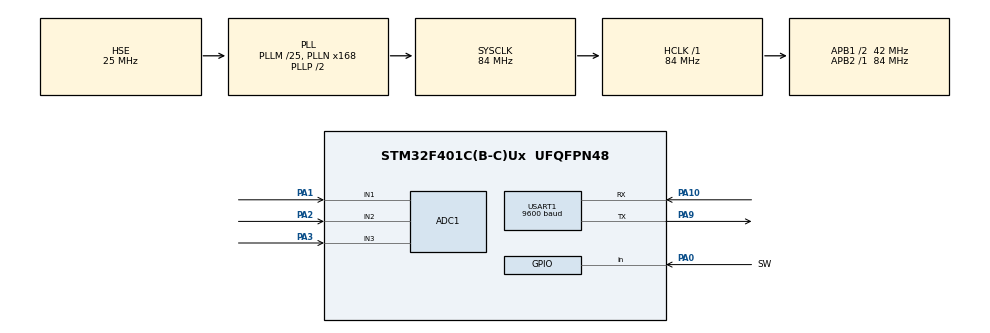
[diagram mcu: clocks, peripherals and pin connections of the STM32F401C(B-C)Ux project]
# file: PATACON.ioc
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ADC1.Channel-0\#ChannelRegularConversion=ADC_CHANNEL_3
ADC1.Channel-1\#ChannelRegularConversion=ADC_CHANNEL_2
ADC1.Channel-2\#ChannelRegularConversion=ADC_CHANNEL_2
ADC1.NbrOfConversion=3
ADC1.NbrOfConversionFlag=1
ADC1.Rank-0\#ChannelRegularConversion=1
ADC1.Rank-1\#ChannelRegularConversion=2
ADC1.Rank-2\#ChannelRegularConversion=3
ADC1.SamplingTime-0\#ChannelRegularConversion=ADC_SAMPLETIME_56CYCLES
ADC1.SamplingTime-1\#ChannelRegularConversion=ADC_SAMPLETIME_56CYCLES
ADC1.SamplingTime-2\#ChannelRegularConversion=ADC_SAMPLETIME_56CYCLES
ADC1.master=1
Mcu.Family=STM32F4
Mcu.Name=STM32F401C(B-C)Ux
Mcu.Package=UFQFPN48
NVIC.PriorityGroup=NVIC_PRIORITYGROUP_4
PA0-WKUP.GPIO_Label=SW
PA0-WKUP.GPIO_PuPd=GPIO_PULLUP
PA0-WKUP.Signal=GPIO_Input
PA1.Signal=ADCx_IN1
PA10.Mode=Asynchronous
PA10.Signal=USART1_RX
PA2.Signal=ADCx_IN2
PA3.Signal=ADCx_IN3
PA9.Mode=Asynchronous
PA9.Signal=USART1_TX
PH0\ -\ OSC_IN.Mode=HSE-External-Oscillator
PH0\ -\ OSC_IN.Signal=RCC_OSC_IN
PH1\ -\ OSC_OUT.Mode=HSE-External-Oscillator
PH1\ -\ OSC_OUT.Signal=RCC_OSC_OUT
ProjectManager.HeapSize=0x200
ProjectManager.StackSize=0x400
ProjectManager.TargetToolchain=CMake
RCC.48MHZClocksFreq_Value=42000000
RCC.AHBFreq_Value=84000000
RCC.APB1CLKDivider=RCC_HCLK_DIV2
RCC.APB1Freq_Value=42000000
RCC.APB1TimFreq_Value=84000000
RCC.APB2Freq_Value=84000000
RCC.APB2TimFreq_Value=84000000
RCC.CortexFreq_Value=84000000
RCC.HCLKFreq_Value=84000000
RCC.HSE_VALUE=25000000
RCC.HSI_VALUE=16000000
RCC.LSE_VALUE=32768
RCC.PLLM=25
RCC.PLLN=168
RCC.PLLSourceVirtual=RCC_PLLSOURCE_HSE
RCC.SYSCLKFreq_VALUE=84000000
RCC.SYSCLKSource=RCC_SYSCLKSOURCE_PLLCLK
RCC.VCOOutputFreq_Value=168000000
SH.ADCx_IN1.0=ADC1_IN1,IN1
SH.ADCx_IN2.0=ADC1_IN2,IN2
SH.ADCx_IN3.0=ADC1_IN3,IN3
USART1.BaudRate=9600
USART1.VirtualMode=VM_ASYNC
board=custom

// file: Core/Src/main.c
/* USER CODE BEGIN Header */
/**
  ******************************************************************************
  * @file           : main.c
  * @brief          : Main program body
  ******************************************************************************
  * @attention
  *
  * Copyright (c) 2026 STMicroelectronics.
  * All rights reserved.
  *
  * This software is licensed under terms that can be found in the LICENSE file
  * in the root directory of this software component.
  * If no LICENSE file comes with this software, it is provided AS-IS.
  *
  ******************************************************************************
  */
/* USER CODE END Header */
#include "main.h"

/* USER CODE BEGIN Includes */
#include "stdio.h"
#include "string.h"
#include "stdlib.h"
#include "math.h"
#include "uart.h"
#include "adc_x.h"
/* USER CODE END Includes */

ADC_HandleTypeDef hadc1;

UART_HandleTypeDef huart1;

/* USER CODE BEGIN PV */
uint16_t adc_value;
char buffer[50];
float voltaje;
float bateria;
/* USER CODE END PV */

void SystemClock_Config(void);
static void MX_GPIO_Init(void);
static void MX_USART1_UART_Init(void);
static void MX_ADC1_Init(void);

int main(void)
{

  /* MCU Configuration--------------------------------------------------------*/

  /* Reset of all peripherals, Initializes the Flash interface and the Systick. */
  HAL_Init();

  /* Configure the system clock */
  SystemClock_Config();

  /* Initialize all configured peripherals */
  MX_GPIO_Init();
  MX_USART1_UART_Init();
  MX_ADC1_Init();
  /* USER CODE BEGIN 2 */

  uartx_write_text(&huart1,"Hola mundo\r\n");
  /* USER CODE END 2 */

  /* Infinite loop */
  /* USER CODE BEGIN WHILE */
  while (1)
  {
    //adc_value = ADC_Read(&hadc1);
    ADC_Read_All(&hadc1, adc1_canales, adc1_codigo);
    voltaje = (float)adc1_codigo[0] * 3.3 / 4095.0;
    bateria = (float)adc1_codigo[1] * 3.3 / 4095.0;
    bateria = bateria * 4.0; // Ajuste según el divisor de voltaje utilizado
    /* sprintf(buffer, "Bateria= %.2f V\r\n", bateria);
    uartx_write_text(&huart1, buffer);
    sprintf(buffer, "Voltaje= %.2f V\r\n", voltaje);
    uartx_write_text(&huart1, buffer); */

    //Bluetooth
    /* sprintf(buffer, "*B%.2f*", bateria);
    uartx_write_text(&huart1, buffer);
    HAL_Delay(5);

    sprintf(buffer, "*V%.2f*", voltaje);
    uartx_write_text(&huart1, buffer);
    HAL_Delay(5); */

    sprintf(buffer, "vol1=%.2f*\r\n", voltaje);
    uartx_write_text(&huart1, buffer);
    HAL_Delay(500);

    if(HAL_GPIO_ReadPin(SW_GPIO_Port, SW_Pin) == GPIO_PIN_RESET)
    {
      uartx_write_text(&huart1, "led1=on*\r\n");
    }
    else
    {
      uartx_write_text(&huart1, "led1=off*\r\n");
    }
    HAL_Delay(5);
    /* USER CODE END WHILE */

  }
}

void SystemClock_Config(void)
{
  RCC_OscInitTypeDef RCC_OscInitStruct = {0};
  RCC_ClkInitTypeDef RCC_ClkInitStruct = {0};

  /** Configure the main internal regulator output voltage
  */
  __HAL_RCC_PWR_CLK_ENABLE();
  __HAL_PWR_VOLTAGESCALING_CONFIG(PWR_REGULATOR_VOLTAGE_SCALE2);

  /** Initializes the RCC Oscillators according to the specified parameters
  * in the RCC_OscInitTypeDef structure.
  */
  RCC_OscInitStruct.OscillatorType = RCC_OSCILLATORTYPE_HSE;
  RCC_OscInitStruct.HSEState = RCC_HSE_ON;
  RCC_OscInitStruct.PLL.PLLState = RCC_PLL_ON;
  RCC_OscInitStruct.PLL.PLLSource = RCC_PLLSOURCE_HSE;
  RCC_OscInitStruct.PLL.PLLM = 25;
  RCC_OscInitStruct.PLL.PLLN = 168;
  RCC_OscInitStruct.PLL.PLLP = RCC_PLLP_DIV2;
  RCC_OscInitStruct.PLL.PLLQ = 4;
  if (HAL_RCC_OscConfig(&RCC_OscInitStruct) != HAL_OK)
  {
    Error_Handler();
  }

  /** Initializes the CPU, AHB and APB buses clocks
  */
  RCC_ClkInitStruct.ClockType = RCC_CLOCKTYPE_HCLK|RCC_CLOCKTYPE_SYSCLK
                              |RCC_CLOCKTYPE_PCLK1|RCC_CLOCKTYPE_PCLK2;
  RCC_ClkInitStruct.SYSCLKSource = RCC_SYSCLKSOURCE_PLLCLK;
  RCC_ClkInitStruct.AHBCLKDivider = RCC_SYSCLK_DIV1;
  RCC_ClkInitStruct.APB1CLKDivider = RCC_HCLK_DIV2;
  RCC_ClkInitStruct.APB2CLKDivider = RCC_HCLK_DIV1;

  if (HAL_RCC_ClockConfig(&RCC_ClkInitStruct, FLASH_LATENCY_2) != HAL_OK)
  {
    Error_Handler();
  }
}

static void MX_ADC1_Init(void)
{

  ADC_ChannelConfTypeDef sConfig = {0};

  /** Configure the global features of the ADC (Clock, Resolution, Data Alignment and number of conversion)
  */
  hadc1.Instance = ADC1;
  hadc1.Init.ClockPrescaler = ADC_CLOCK_SYNC_PCLK_DIV4;
  hadc1.Init.Resolution = ADC_RESOLUTION_12B;
  hadc1.Init.ScanConvMode = ENABLE;
  hadc1.Init.ContinuousConvMode = DISABLE;
  hadc1.Init.DiscontinuousConvMode = DISABLE;
  hadc1.Init.ExternalTrigConvEdge = ADC_EXTERNALTRIGCONVEDGE_NONE;
  hadc1.Init.ExternalTrigConv = ADC_SOFTWARE_START;
  hadc1.Init.DataAlign = ADC_DATAALIGN_RIGHT;
  hadc1.Init.NbrOfConversion = 3;
  hadc1.Init.DMAContinuousRequests = DISABLE;
  hadc1.Init.EOCSelection = ADC_EOC_SINGLE_CONV;
  if (HAL_ADC_Init(&hadc1) != HAL_OK)
  {
    Error_Handler();
  }

  /** Configure for the selected ADC regular channel its corresponding rank in the sequencer and its sample time.
  */
  sConfig.Channel = ADC_CHANNEL_3;
  sConfig.Rank = 1;
  sConfig.SamplingTime = ADC_SAMPLETIME_56CYCLES;
  if (HAL_ADC_ConfigChannel(&hadc1, &sConfig) != HAL_OK)
  {
    Error_Handler();
  }

  /** Configure for the selected ADC regular channel its corresponding rank in the sequencer and its sample time.
  */
  sConfig.Channel = ADC_CHANNEL_2;
  sConfig.Rank = 2;
  if (HAL_ADC_ConfigChannel(&hadc1, &sConfig) != HAL_OK)
  {
    Error_Handler();
  }

  /** Configure for the selected ADC regular channel its corresponding rank in the sequencer and its sample time.
  */
  sConfig.Rank = 3;
  if (HAL_ADC_ConfigChannel(&hadc1, &sConfig) != HAL_OK)
  {
    Error_Handler();
  }

}

static void MX_USART1_UART_Init(void)
{

  huart1.Instance = USART1;
  huart1.Init.BaudRate = 9600;
  huart1.Init.WordLength = UART_WORDLENGTH_8B;
  huart1.Init.StopBits = UART_STOPBITS_1;
  huart1.Init.Parity = UART_PARITY_NONE;
  huart1.Init.Mode = UART_MODE_TX_RX;
  huart1.Init.HwFlowCtl = UART_HWCONTROL_NONE;
  huart1.Init.OverSampling = UART_OVERSAMPLING_16;
  if (HAL_UART_Init(&huart1) != HAL_OK)
  {
    Error_Handler();
  }

}

static void MX_GPIO_Init(void)
{
  GPIO_InitTypeDef GPIO_InitStruct = {0};

  /* GPIO Ports Clock Enable */
  __HAL_RCC_GPIOH_CLK_ENABLE();
  __HAL_RCC_GPIOA_CLK_ENABLE();

  /*Configure GPIO pin : SW_Pin */
  GPIO_InitStruct.Pin = SW_Pin;
  GPIO_InitStruct.Mode = GPIO_MODE_INPUT;
  GPIO_InitStruct.Pull = GPIO_PULLUP;
  HAL_GPIO_Init(SW_GPIO_Port, &GPIO_InitStruct);

}

void Error_Handler(void)
{
  __disable_irq();
  while (1)
  {
  }
}
